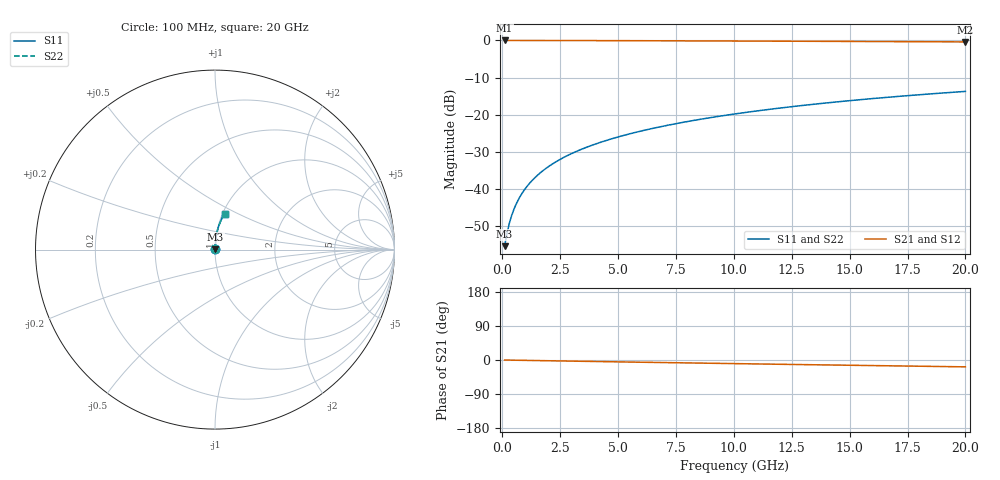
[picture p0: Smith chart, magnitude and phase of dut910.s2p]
! Touchstone file exported from HFSS 2024.1.0
!  File:  C:/UserFiles/LocalFiles/RDL_TSV_Batchsim/temp_RDL_top_910_1779935990.aedt
!  Generated:  10:43:18 AM May 28, 2026
!  Design:  RDL_top
!  Project:  temp_RDL_top_910_1779935990
!  Setup:  Setup1
!  Solution:  Sweep
! Variables:
!  dtsv = 10.80580581um
!  hbump = 3um
!  htsv = 85.38um
!  ldown = 100um
!  lrdl = 233.54um
!  p = 40
!  p1 = 41.52um
!  rhole = 1um
!  t = 450um
!  tdown = 3.915915916um
!  trdl = 4.53um
!  wdown = 15.38538539um
!  wrdl = 15.41um
# GHz S MA R 50.000000
! Terminal data exported
! Port[1] = Box2_T1
! Port[2] = Box2_T2
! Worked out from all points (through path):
!   200 points, 100 MHz to 20 GHz, reference 50 ohm
!   highest |S21| = -0.01 dB at 100 MHz (marker M1); lowest = -0.4 dB at 20 GHz (marker M2)
!   group delay of S21, straight-line fit = 2.5 ps
!   lowest |S11| = -55.4 dB at 100 MHz (marker M3), VSWR 1.00, Z = 50.1 + j0.106 ohm
!   |S11| at or under -10 dB: start of sweep to end of sweep
!   |S22| runs from -55.4 to -13.7 dB; largest |S21 - S12| = 5.1e-15
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0.1  0.00169 38.7  0.9987 -0.1  0.9987 -0.1  0.00169 38.7
! Gamma 0 0 0 0
! Port Impedance 50 0 50 0
0.2  0.002495 56.9  0.9986 -0.2  0.9986 -0.2  0.002495 56.9
0.3  0.003403 65.5  0.9986 -0.3  0.9986 -0.3  0.003403 65.5
0.4  0.00434 70.5  0.9985 -0.4  0.9985 -0.4  0.00434 70.5
0.5  0.00529 73.7  0.9985 -0.5  0.9985 -0.5  0.00529 73.7
0.6  0.006249 76.0  0.9984 -0.6  0.9984 -0.6  0.006249 76.0
0.8  0.008185 79.0  0.9983 -0.8  0.9983 -0.8  0.008185 79.0
1.1  0.01112 81.6  0.9981 -1.1  0.9981 -1.1  0.01112 81.6
1.5  0.01506 83.4  0.9979 -1.5  0.9979 -1.5  0.01506 83.4
1.8  0.01803 84.2  0.9976 -1.8  0.9976 -1.8  0.01803 84.2
2.1  0.02101 84.7  0.9973 -2.1  0.9973 -2.1  0.02101 84.7
2.7  0.02697 85.3  0.9966 -2.7  0.9966 -2.7  0.02697 85.3
3.5  0.03496 85.6  0.9955 -3.5  0.9955 -3.5  0.03496 85.6
4.2  0.04198 85.7  0.9943 -4.2  0.9943 -4.2  0.04198 85.7
5  0.05005 85.6  0.9929 -5.0  0.9929 -5.0  0.05005 85.6
5.9  0.05919 85.4  0.991 -5.8  0.991 -5.8  0.05919 85.3
6.8  0.06842 85.0  0.9891 -6.6  0.9891 -6.6  0.06842 85.0
8.3  0.08395 84.3  0.9857 -8.0  0.9857 -8.0  0.08395 84.3
10.1  0.1028 83.1  0.9813 -9.6  0.9813 -9.6  0.1028 83.1
13.4  0.1375 80.6  0.973 -12.5  0.973 -12.5  0.1375 80.6
16.7  0.172 77.9  0.9643 -15.3  0.9643 -15.3  0.172 77.9
20  0.2057 75.0  0.9552 -18.1  0.9552 -18.1  0.2057 75.0
